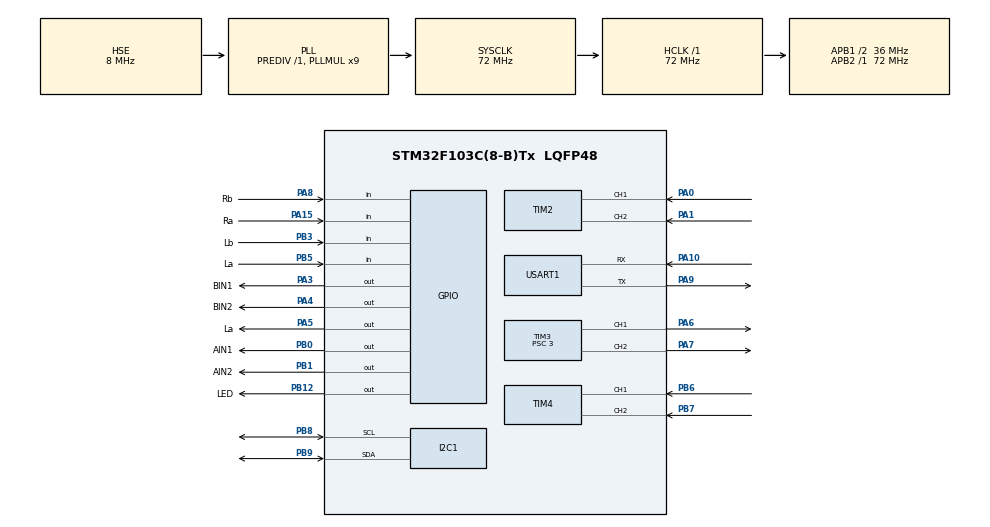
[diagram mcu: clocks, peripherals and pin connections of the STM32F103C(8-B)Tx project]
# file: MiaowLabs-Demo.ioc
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Mcu.Family=STM32F1
Mcu.Name=STM32F103C(8-B)Tx
Mcu.Package=LQFP48
NVIC.PriorityGroup=NVIC_PRIORITYGROUP_4
NVIC.USART1_IRQn=true\:0\:0\:false\:false\:true\:true\:true
PA0-WKUP.Signal=S_TIM2_CH1_ETR
PA1.Signal=S_TIM2_CH2
PA10.Mode=Asynchronous
PA10.Signal=USART1_RX
PA13.Mode=Serial_Wire
PA13.Signal=SYS_JTMS-SWDIO
PA14.Mode=Serial_Wire
PA14.Signal=SYS_JTCK-SWCLK
PA15.GPIO_Label=Ra
PA15.GPIO_PuPd=GPIO_PULLUP
PA15.Signal=GPIO_Input
PA3.GPIO_Label=BIN1
PA3.Signal=GPIO_Output
PA4.GPIO_Label=BIN2
PA4.Signal=GPIO_Output
PA5.GPIO_Label=La
PA5.Signal=GPIO_Output
PA6.Signal=S_TIM3_CH1
PA7.Signal=S_TIM3_CH2
PA8.GPIO_Label=Rb
PA8.GPIO_PuPd=GPIO_PULLUP
PA8.Signal=GPIO_Input
PA9.Mode=Asynchronous
PA9.Signal=USART1_TX
PB0.GPIO_Label=AIN1
PB0.Signal=GPIO_Output
PB1.GPIO_Label=AIN2
PB1.Signal=GPIO_Output
PB12.GPIO_Label=LED
PB12.GPIO_Speed=GPIO_SPEED_FREQ_HIGH
PB12.Signal=GPIO_Output
PB3.GPIO_Label=Lb
PB3.GPIO_PuPd=GPIO_PULLUP
PB3.Signal=GPIO_Input
PB5.GPIO_Label=La
PB5.GPIO_PuPd=GPIO_PULLUP
PB5.Signal=GPIO_Input
PB6.Signal=S_TIM4_CH1
PB7.Signal=S_TIM4_CH2
PB8.Mode=I2C
PB8.Signal=I2C1_SCL
PB9.Mode=I2C
PB9.Signal=I2C1_SDA
PC14-OSC32_IN.Mode=LSE-External-Oscillator
PC14-OSC32_IN.Signal=RCC_OSC32_IN
PC15-OSC32_OUT.Mode=LSE-External-Oscillator
PC15-OSC32_OUT.Signal=RCC_OSC32_OUT
PD0-OSC_IN.Mode=HSE-External-Oscillator
PD0-OSC_IN.Signal=RCC_OSC_IN
PD1-OSC_OUT.Mode=HSE-External-Oscillator
PD1-OSC_OUT.Signal=RCC_OSC_OUT
ProjectManager.HeapSize=0x200
ProjectManager.StackSize=0x400
ProjectManager.TargetToolchain=MDK-ARM V5
RCC.AHBFreq_Value=72000000
RCC.APB1CLKDivider=RCC_HCLK_DIV2
RCC.APB1Freq_Value=36000000
RCC.APB1TimFreq_Value=72000000
RCC.APB2Freq_Value=72000000
RCC.APB2TimFreq_Value=72000000
RCC.HCLKFreq_Value=72000000
RCC.PLLMUL=RCC_PLL_MUL9
RCC.PLLSourceVirtual=RCC_PLLSOURCE_HSE
RCC.SYSCLKFreq_VALUE=72000000
RCC.SYSCLKSource=RCC_SYSCLKSOURCE_PLLCLK
RCC.USBFreq_Value=72000000
SH.S_TIM2_CH1_ETR.0=TIM2_CH1,Encoder_Interface
SH.S_TIM2_CH2.0=TIM2_CH2,Encoder_Interface
SH.S_TIM3_CH1.0=TIM3_CH1,PWM Generation1 CH1
SH.S_TIM3_CH2.0=TIM3_CH2,PWM Generation2 CH2
SH.S_TIM4_CH1.0=TIM4_CH1,Encoder_Interface
SH.S_TIM4_CH2.0=TIM4_CH2,Encoder_Interface
TIM2.EncoderMode=TIM_ENCODERMODE_TI12
TIM3.Channel-PWM\ Generation1\ CH1=TIM_CHANNEL_1
TIM3.Channel-PWM\ Generation2\ CH2=TIM_CHANNEL_2
TIM3.Period=1000
TIM3.Prescaler=3
TIM3.Pulse-PWM\ Generation1\ CH1=100
TIM3.Pulse-PWM\ Generation2\ CH2=100
TIM4.EncoderMode=TIM_ENCODERMODE_TI12
USART1.VirtualMode=VM_ASYNC
board=custom

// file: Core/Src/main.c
/* USER CODE BEGIN Header */
/**
  ******************************************************************************
  * @file           : main.c
  * @brief          : Main program body
  ******************************************************************************
  * @attention
  *
  * <h2><center>&copy; Copyright (c) 2021 STMicroelectronics.
  * All rights reserved.</center></h2>
  *
  * This software component is licensed by ST under BSD 3-Clause license,
  * the "License"; You may not use this file except in compliance with the
  * License. You may obtain a copy of the License at:
  *                        opensource.org/licenses/BSD-3-Clause
  *
  ******************************************************************************
  */
/* USER CODE END Header */
#include "main.h"
#include "i2c.h"
#include "tim.h"
#include "usart.h"
#include "gpio.h"

void SystemClock_Config(void);

int main(void)
{

  /* MCU Configuration--------------------------------------------------------*/

  /* Reset of all peripherals, Initializes the Flash interface and the Systick. */
  HAL_Init();

  /* Configure the system clock */
  SystemClock_Config();

  /* Initialize all configured peripherals */
  MX_GPIO_Init();
  MX_USART1_UART_Init();
  MX_TIM3_Init();
  MX_I2C1_Init();
  MX_TIM4_Init();
  MX_TIM2_Init();
  /* USER CODE BEGIN 2 */

	// HAL_TIM_PWM_Start(&htim3,TIM_CHANNEL_1);// Turn on TIM3_CH1's PWM output
	// HAL_GPIO_WritePin(AIN1_GPIO_Port, BIN1_Pin, GPIO_PIN_SET);// Init AIN1 to low level
	// HAL_GPIO_WritePin(AIN2_GPIO_Port, BIN2_Pin, GPIO_PIN_RESET);// Init AIN2 to high level
	// HAL_TIM_PWM_Start(&htim3,TIM_CHANNEL_2);// Turn on TIM3_CH2's PWM output
	// HAL_GPIO_WritePin(BIN1_GPIO_Port, BIN1_Pin, GPIO_PIN_SET);// Init BIN1 to low level
	// HAL_GPIO_WritePin(BIN2_GPIO_Port, BIN2_Pin, GPIO_PIN_RESET);// Init BIN2 to high level

	if (!MPU_Init()) {
		printf("MPU-6050 Init Successfully\n");
	}

  HAL_TIM_Encoder_Start(&htim4, TIM_CHANNEL_ALL);
  HAL_TIM_Encoder_Start(&htim2, TIM_CHANNEL_ALL);
  HAL_TIM_PWM_Start(&htim3, TIM_CHANNEL_1);
  HAL_TIM_PWM_Start(&htim3, TIM_CHANNEL_2);

  /* USER CODE END 2 */

  /* Infinite loop */
  /* USER CODE BEGIN WHILE */
  while (1)
  {
		/*if (g_iButtonState == 1) {
			HAL_GPIO_TogglePin(LED_GPIO_Port, LED_Pin);
			printf("LED GPIO TOGGLE! \n");
		}

		OutPut_Data();*/

    int STOP = 2000;
		HAL_Delay(STOP);
		printf("Turn\n");
    Move(100);
		printf("STOP\n");
		HAL_Delay(STOP + 1000);
		printf("Turn\n");
    Move(-100);
		printf("STOP\n");
		HAL_Delay(STOP);
    printf("Turn\n");
    Turn(-90);
    printf("STOP\n");
    HAL_Delay(STOP + 1000);
    printf("Turn\n");
    Turn(90);
    printf("STOP\n");
    HAL_Delay(STOP);

		/*
		int La = HAL_GPIO_ReadPin(La_GPIO_Port, La_Pin);
		int Lb = HAL_GPIO_ReadPin(Lb_GPIO_Port, Lb_Pin);
		int Ra = HAL_GPIO_ReadPin(Ra_GPIO_Port, Ra_Pin);
		int Rb = HAL_GPIO_ReadPin(Rb_GPIO_Port, Rb_Pin);
		printf("Lb = %d\n", Lb);
		printf("Rb = %d\n", Rb);
		if (Lb == GPIO_PIN_RESET) {
			printf("LLLL\n");
		}
		if (Rb == GPIO_PIN_RESET) {
			printf("RRRR\n");
		}
		HAL_Delay(500);
		*/

		//MPU_Get_Accelerometer();

    /* USER CODE END WHILE */

  }
}

void SystemClock_Config(void)
{
  RCC_OscInitTypeDef RCC_OscInitStruct = {0};
  RCC_ClkInitTypeDef RCC_ClkInitStruct = {0};

  /** Initializes the RCC Oscillators according to the specified parameters
  * in the RCC_OscInitTypeDef structure.
  */
  RCC_OscInitStruct.OscillatorType = RCC_OSCILLATORTYPE_HSE;
  RCC_OscInitStruct.HSEState = RCC_HSE_ON;
  RCC_OscInitStruct.HSEPredivValue = RCC_HSE_PREDIV_DIV1;
  RCC_OscInitStruct.HSIState = RCC_HSI_ON;
  RCC_OscInitStruct.PLL.PLLState = RCC_PLL_ON;
  RCC_OscInitStruct.PLL.PLLSource = RCC_PLLSOURCE_HSE;
  RCC_OscInitStruct.PLL.PLLMUL = RCC_PLL_MUL9;
  if (HAL_RCC_OscConfig(&RCC_OscInitStruct) != HAL_OK)
  {
    Error_Handler();
  }
  /** Initializes the CPU, AHB and APB buses clocks
  */
  RCC_ClkInitStruct.ClockType = RCC_CLOCKTYPE_HCLK|RCC_CLOCKTYPE_SYSCLK
                              |RCC_CLOCKTYPE_PCLK1|RCC_CLOCKTYPE_PCLK2;
  RCC_ClkInitStruct.SYSCLKSource = RCC_SYSCLKSOURCE_PLLCLK;
  RCC_ClkInitStruct.AHBCLKDivider = RCC_SYSCLK_DIV1;
  RCC_ClkInitStruct.APB1CLKDivider = RCC_HCLK_DIV2;
  RCC_ClkInitStruct.APB2CLKDivider = RCC_HCLK_DIV1;

  if (HAL_RCC_ClockConfig(&RCC_ClkInitStruct, FLASH_LATENCY_2) != HAL_OK)
  {
    Error_Handler();
  }
}

void Error_Handler(void)
{
  __disable_irq();
  while (1)
  {
  }
}

/************************ (C) COPYRIGHT STMicroelectronics *****END OF FILE****/
